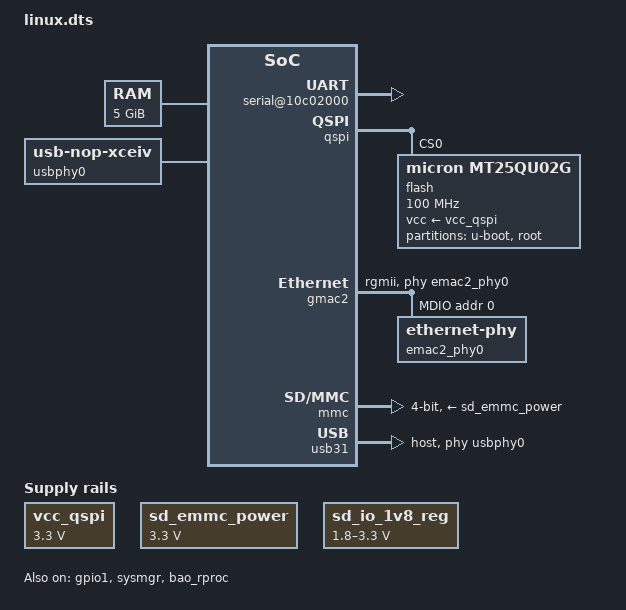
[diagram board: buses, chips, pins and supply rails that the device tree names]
/dts-v1/;

/ {
        #address-cells = <0x2>;
        #size-cells = <0x2>;
        interrupt-parent = <&gic>;

        cpus {
                #address-cells = <0x1>;
                #size-cells = <0x0>;

                /* Linux SMP across both A76 cores.
                 * Bao's cpu_affinity = 0xc in
                 * configs/linux_freertos/config.c maps:
                 *   vCPU0 (reg = 0x0) -> pCPU2 (first  A76)
                 *   vCPU1 (reg = 0x1) -> pCPU3 (second A76)
                 *
                 * The DT `reg` value is the MPIDR.Aff0 that Bao presents
                 * to the guest for that vCPU; Bao numbers vCPUs linearly
                 * from 0 regardless of which physical core(s) back them.
                 *
                 * Both compatibles MUST be "arm,cortex-a76" so Linux
                 * picks the A76 errata workarounds and feature paths
                 * (cache topology, MIDR-keyed cpu_errata tables, …).
                 * Cortex-A76 MIDR part = 0xd0b (verify with
                 * `grep -c 'CPU part.*0xd0b' /proc/cpuinfo` = 2).
                 *
                 * enable-method = "psci" + the psci node below
                 * (method = "hvc") routes secondary CPU bring-up through
                 * Bao's PSCI handler, which then issues the underlying
                 * SMC to ATF on the chosen pCPU. */
                cpu@0 {
                        compatible = "arm,cortex-a76";
                        device_type = "cpu";
                        enable-method = "psci";
                        reg = <0x0>;
                };

                cpu@1 {
                        compatible = "arm,cortex-a76";
                        device_type = "cpu";
                        enable-method = "psci";
                        reg = <0x1>;
                };
        };

        psci {
                compatible = "arm,psci-0.2";
                method = "hvc";
        };

        memory@0 {
                device_type = "memory";
                /* 5 GiB guest IPA (cache-colored by Bao, IPA != PA; see
                 * config.c): 1 GiB @ 0x82000000 + 4 GiB @ 0x880000000.
                 * Bao load PA 0xE0000000; shmem IPC IPA 0xC4000000. */
                reg = <0x0 0x82000000 0x0 0x40000000>,
                      <0x8 0x80000000 0x1 0x00000000>;
        };

        gic: interrupt-controller@1d000000 {
                compatible = "arm,gic-v3";
                #interrupt-cells = <0x3>;
                #address-cells = <0x2>;
                #size-cells = <0x2>;
                interrupt-controller;
                reg = <0x0 0x1d000000 0x0 0x10000>,
                      <0x0 0x1d060000 0x0 0x40000>;
                interrupts = <0x1 0x9 0xf04>;
        };

        timer {
                compatible = "arm,armv8-timer";
                always-on;
                interrupts = <0x1 0xd 0xf08>,
                             <0x1 0xe 0xf08>,
                             <0x1 0xb 0xf08>,
                             <0x1 0xa 0xf08>;
        };

        uartclk: uartclk {
                compatible = "fixed-clock";
                #clock-cells = <0x0>;
                clock-frequency = <100000000>;
        };

        serial@10c02000 {
                compatible = "snps,dw-apb-uart";
                reg = <0x0 0x10c02000 0x0 0x100>;
                reg-shift = <2>;
                reg-io-width = <4>;
                clock-frequency = <100000000>;
                interrupts = <0x0 0x6c 0x4>;
                status = "okay";
        };

        vcc_qspi: vcc-qspi-regulator {
                compatible = "regulator-fixed";
                regulator-name = "vcc-qspi";
                regulator-min-microvolt = <3300000>;
                regulator-max-microvolt = <3300000>;
                regulator-always-on;
        };

        qspi_clk: qspi-clk {
                #clock-cells = <0>;
                compatible = "fixed-clock";
                clock-frequency = <0x17d78400>;
        };

        qspi: spi@108d2000 {
                compatible = "intel,socfpga-qspi", "cdns,qspi-nor";
                reg = <0x0 0x108d2000 0x0 0x100>,
                      <0x0 0x10900000 0x0 0x100000>;
                #address-cells = <1>;
                #size-cells = <0>;
                interrupts = <0x0 0x3 0x4>;
                cdns,fifo-depth = <128>;
                cdns,fifo-width = <4>;
                cdns,trigger-address = <0x00000000>;
                clocks = <&qspi_clk>;
                status = "okay";

                flash@0 {
                        compatible = "micron,mt25qu02g", "jedec,spi-nor";
                        reg = <0>;
                        spi-max-frequency = <100000000>;
                        m25p,fast-read;
                        cdns,read-delay = <2>;
                        cdns,tshsl-ns = <50>;
                        cdns,tsd2d-ns = <50>;
                        cdns,tchsh-ns = <4>;
                        cdns,tslch-ns = <4>;
                        vcc-supply = <&vcc_qspi>;

                        partitions {
                                compatible = "fixed-partitions";
                                #address-cells = <1>;
                                #size-cells = <1>;

                                qspi_boot: partition@0 {
                                        label = "u-boot";
                                        reg = <0x0 0x04200000>;
                                };

                                root: partition@4200000 {
                                        label = "root";
                                        reg = <0x04200000 0x0be00000>;
                                };
                        };
                };
        };

        /* Clocks for Ethernet */
        emac0_clk: emac-clk {
                #clock-cells = <0x00>;
                compatible = "fixed-clock";
                clock-frequency = <400000000>;
        };

        emac_ptp_clk: emac-ptp-clk {
                #clock-cells = <0x00>;
                compatible = "fixed-clock";
                clock-frequency = <400000000>;
        };

        /* Clocks for SDMMC */
        mmc_biu_clk: mmc-biu-clk {
                #clock-cells = <0>;
                compatible = "fixed-clock";
                clock-frequency = <100000000>;
        };

        mmc_ciu_clk: mmc-ciu-clk {
                #clock-cells = <0>;
                compatible = "fixed-clock";
                clock-frequency = <200000000>;
        };

        /* Regulators for SDMMC */
        sd_emmc_power: regulator-sd-power {
                compatible = "regulator-fixed";
                regulator-name = "card-power";
                regulator-min-microvolt = <3300000>;
                regulator-max-microvolt = <3300000>;
                regulator-always-on;
        };

        sd_io_1v8_reg: regulator-sd-io {
                compatible = "regulator-gpio";
                regulator-name = "sd-bus-io-power";
                regulator-min-microvolt = <1800000>;
                regulator-max-microvolt = <3300000>;
                gpios = <&portb 3 0>;   /* GPIO_ACTIVE_HIGH = 0 */
                states = <1800000 0x1>, <3300000 0x0>;
        };

        gpio1: gpio@10c03300 {
                compatible = "snps,dw-apb-gpio";
                reg = <0x0 0x10c03300 0x0 0x100>;
                #address-cells = <1>;
                #size-cells = <0>;
                /* GPIO1_RESET = 89 in altr,rst-mgr-s10.h (Stratix10/Agilex5).
                 * The old value of 58 was taken from the base altr,rst-mgr.h
                 * which covers a different SoC family; it left GPIO1 permanently
                 * in hardware reset, so portb never came up and the regulator-gpio
                 * for vqmmc could not claim its GPIO pin. */
                resets = <&rst 89>;
                status = "okay";

                portb: gpio-controller@0 {
                        compatible = "snps,dw-apb-gpio-port";
                        reg = <0>;
                        gpio-controller;
                        #gpio-cells = <2>;
                        snps,nr-gpios = <24>;
                };
        };

        sysmgr: sysmgr@10d12000 {
                compatible = "altr,sys-mgr-s10", "altr,sys-mgr";
                reg = <0x0 0x10d12000 0x0 0x500>;
                status = "okay";
        };

        rst: rstmgr@10d11000 {
                compatible = "altr,stratix10-rst-mgr", "altr,rst-mgr";
                reg = <0x0 0x10d11000 0x0 0x1000>;
                #reset-cells = <1>;
        };

        gmac2: ethernet@10830000 {
                compatible = "altr,socfpga-stmmac-agilex5", "snps,dwxgmac-2.10";
                reg = <0x0 0x10830000 0x0 0x3500>;
                interrupts = <0x0 0xe0 0x4>,
                             <0x0 0xe1 0x4>,
                             <0x0 0xe2 0x4>,
                             <0x0 0xe3 0x4>,
                             <0x0 0xe4 0x4>,
                             <0x0 0xe5 0x4>,
                             <0x0 0xe6 0x4>,
                             <0x0 0xe7 0x4>,
                             <0x0 0xe8 0x4>,
                             <0x0 0xe9 0x4>,
                             <0x0 0xea 0x4>,
                             <0x0 0xeb 0x4>,
                             <0x0 0xec 0x4>,
                             <0x0 0xed 0x4>,
                             <0x0 0xee 0x4>,
                             <0x0 0xef 0x4>,
                             <0x0 0xf0 0x4>;
                interrupt-names = "macirq",
                                  "macirq_tx0",
                                  "macirq_tx1",
                                  "macirq_tx2",
                                  "macirq_tx3",
                                  "macirq_tx4",
                                  "macirq_tx5",
                                  "macirq_tx6",
                                  "macirq_tx7",
                                  "macirq_rx0",
                                  "macirq_rx1",
                                  "macirq_rx2",
                                  "macirq_rx3",
                                  "macirq_rx4",
                                  "macirq_rx5",
                                  "macirq_rx6",
                                  "macirq_rx7";
                resets = <&rst 34>, <&rst 42>;   /* EMAC2_RESET, EMAC2_OCP_RESET */
                reset-names = "stmmaceth", "ahb";
                clocks = <&emac0_clk>, <&emac_ptp_clk>;
                clock-names = "stmmaceth", "ptp_ref";
                mac-address = [00 00 00 00 00 00];
                tx-fifo-depth = <32768>;
                rx-fifo-depth = <16384>;
                snps,multicast-filter-bins = <64>;
                snps,perfect-filter-entries = <64>;
                snps,axi-config = <&stmmac_axi_emac2_setup>;
                snps,mtl-rx-config = <&mtl_rx_emac2_setup>;
                snps,mtl-tx-config = <&mtl_tx_emac2_setup>;
                snps,pbl = <32>;
                snps,pblx8;
                snps,multi-irq-en;
                snps,tso;
                snps,rx-vlan-offload;
                snps,pagepool-tx-buf-quirk;
                altr,sysmgr-syscon = <&sysmgr 0x4c 0>;
                altr,smtg-hub;
                snps,clk-csr = <0>;
                phy-mode = "rgmii";
                phy-handle = <&emac2_phy0>;
                max-frame-size = <9000>;
                status = "okay";

                stmmac_axi_emac2_setup: stmmac-axi-config {
                        snps,wr_osr_lmt = <31>;
                        snps,rd_osr_lmt = <31>;
                        snps,blen = <0 0 0 32 16 8 4>;
                };

                mtl_rx_emac2_setup: rx-queues-config {
                        snps,rx-queues-to-use = <8>;
                        snps,rx-sched-sp;
                        queue0 { snps,dcb-algorithm; snps,map-to-dma-channel = <0x0>; };
                        queue1 { snps,dcb-algorithm; snps,map-to-dma-channel = <0x1>; };
                        queue2 { snps,dcb-algorithm; snps,map-to-dma-channel = <0x2>; };
                        queue3 { snps,dcb-algorithm; snps,map-to-dma-channel = <0x3>; };
                        queue4 { snps,dcb-algorithm; snps,map-to-dma-channel = <0x4>; };
                        queue5 { snps,dcb-algorithm; snps,map-to-dma-channel = <0x5>; };
                        queue6 { snps,dcb-algorithm; snps,map-to-dma-channel = <0x6>; };
                        queue7 { snps,dcb-algorithm; snps,map-to-dma-channel = <0x7>; };
                };

                mtl_tx_emac2_setup: tx-queues-config {
                        snps,tx-queues-to-use = <8>;
                        snps,tx-queues-with-coe = <2>;
                        snps,tx-sched-wrr;
                        queue0 { snps,weight = <0x09>; snps,dcb-algorithm; };
                        queue1 { snps,weight = <0x0A>; snps,dcb-algorithm; };
                        queue2 { snps,weight = <0x0B>; snps,coe-unsupported; snps,dcb-algorithm; };
                        queue3 { snps,weight = <0x0C>; snps,coe-unsupported; snps,dcb-algorithm; };
                        queue4 { snps,weight = <0x0D>; snps,coe-unsupported; snps,dcb-algorithm; };
                        queue5 { snps,weight = <0x0E>; snps,coe-unsupported; snps,dcb-algorithm; };
                        queue6 { snps,weight = <0x0F>; snps,coe-unsupported; snps,dcb-algorithm; snps,tbs-enable; };
                        queue7 { snps,weight = <0x10>; snps,coe-unsupported; snps,dcb-algorithm; snps,tbs-enable; };
                };

                mdio0 {
                        #address-cells = <1>;
                        #size-cells = <0>;
                        compatible = "snps,dwmac-mdio";
                        emac2_phy0: ethernet-phy@0 {
                                reg = <0>;
                        };
                };
        };

        mmc: mmc0@10808000 {
                #address-cells = <1>;
                #size-cells = <0>;
                compatible = "altr,agilex5-sd6hc", "cdns,sd6hc";
                reg = <0x0 0x10808000 0x0 0x1000>;
                interrupts = <0x0 0x60 0x4>;   /* SPI 96 */
                fifo-depth = <0x800>;
                resets = <&rst 39>, <&rst 38>, <&rst 47>;
                reset-names = "sdhc-reset", "combophy", "sdmmc-ocp";
                clocks = <&mmc_biu_clk>, <&mmc_ciu_clk>;
                clock-names = "biu", "ciu";

                /* SMMU / coherency: the SoC's NCAIU2 port does not snoop the
                 * LLC, so dma-coherent is omitted; Linux uses dma_map_single()
                 * cache flushes instead. No iommus property and no smmu node:
                 * the guest must not touch the SMMU — Bao/ATF manage it. */

                /* SD6HC PHY parameters for sdhci-cadence6.c.
                 *
                 * Linux kernel ≥ 6.6 uses a new sdhci-cadence6.c driver
                 * (altr,agilex5-sd6hc match) that computes all PHY register
                 * values algorithmically from three board-level picosecond
                 * delays.  The U-Boot cdns,phy-dqs-timing-delay-* properties
                 * are for U-Boot's own mmc-sd6hc driver and are silently
                 * ignored by Linux — do NOT copy them here.
                 *
                 * Values below match the SoCDK board (same as sdhci-cadence6.c
                 * compile-time defaults, made explicit for documentation):
                 *   iocell-input-delay  : 2500 ps — PCB + IO cell input path
                 *   iocell-output-delay : 2500 ps — PCB + IO cell output path
                 *   delay-element       :   24 ps — PHY DLL tap size */
                cdns,iocell-input-delay = <2500>;
                cdns,iocell-output-delay = <2500>;
                cdns,delay-element = <24>;

                no-mmc;
                disable-wp;
                /* Disable 1.8 V UHS signalling entirely.  The Cadence SD6HC
                 * controller advertises re-tuning capability in its CAPS
                 * register.  When any UHS mode (SDR50/SDR104) is enabled the
                 * SDHCI core arms a periodic re-tuning timer and fires it on
                 * every significant I/O burst.  sdhci_cdns_execute_tuning()
                 * finds no valid window at the HS clock and returns -EIO,
                 * causing repeated "no tuning point found" log spam.  HS mode
                 * (50 MHz, 3.3 V) does not require tuning per the SD spec;
                 * setting no-1-8-v prevents the MMC core from ever attempting
                 * the 3.3 V→1.8 V voltage switch and disables the re-tuning
                 * timer, eliminating the noise with no functional regression. */
                no-1-8-v;
                cap-sd-highspeed;
                /* sd-uhs-sdr50/sdr104 intentionally omitted for initial bring-up:
                 * SDR104 requires a successful 3.3V→1.8V voltage switch via
                 * the regulator-gpio on portb.3.  Start with HS-only (50 MHz,
                 * 3.3 V, no voltage switching) to confirm the data path works
                 * end-to-end before exercising UHS modes.  To enable UHS:
                 *   1. Remove no-1-8-v above.
                 *   2. Add sd-uhs-sdr50 and verify voltage switch succeeds.
                 *   3. Then add sd-uhs-sdr104 and resolve the tuning window. */
                bus-width = <4>;
                vmmc-supply = <&sd_emmc_power>;
                vqmmc-supply = <&sd_io_1v8_reg>;
                max-frequency = <200000000>;
                sdhci-caps = <0x00000000 0x0000c800>;
                sdhci-caps-mask = <0x00002000 0x0000ff00>;
                status = "okay";
        };

        usbphy0: usbphy {
                #phy-cells = <0>;
                compatible = "usb-nop-xceiv";
        };

        /* USB3.1 controller (DWC3 wrapper).
         * intel,agilex5-dwc3 is handled by dwc3-of-simple.c:
         *   - resets are deasserted by the driver (optional — no-op if omitted)
         *   - clocks are optional (bulk_get_all returns 0 if absent)
         * U-Boot brings the controller up before Linux; the driver re-asserts
         * and deasserts the reset during probe to ensure a clean state.
         * iommus omitted: Bao does not expose the SMMU to the Linux guest.
         * Reset IDs from include/dt-bindings/reset/altr,rst-mgr-s10.h:
         *   USB1_RESET = 36, USB1_OCP_RESET = 44 */
        usb31: usb@11000000 {
                compatible = "intel,agilex5-dwc3", "snps,dwc3";
                reg = <0x0 0x11000000 0x0 0x100000>;
                ranges;
                #address-cells = <1>;
                #size-cells = <1>;
                interrupts = <0x0 0x5e 0x4>;   /* GIC SPI 94 → irqid 126 */
                resets = <&rst 36>, <&rst 44>;
                reset-names = "dwc3", "dwc3-ecc";
                phys = <&usbphy0>, <&usbphy0>;
                phy-names = "usb2-phy", "usb3-phy";
                maximum-speed = "super-speed";
                snps,dis_u2_susphy_quirk;
                snps,dis_u3_susphy_quirk;
                snps,dma_set_40_bit_mask_quirk;
                dr_mode = "host";
                status = "okay";
        };

        /*
         * Bao inter-VM remoteproc shim.
         *
         * Backed by the 64 KiB IPC shmem at IPA 0xC4000000 declared in
         * configs/linux_freertos/config.c:
         *   .ipcs[0] = { base=0xC4000000, size=0x10000, shmem_id=0,
         *                interrupts=[52] }
         *
         * Bao identity-maps this region into both VMs at the same IPA
         * (Stage-2 = Normal Cacheable WB Inner-Shareable).
         *
         * The "interrupts" property mirrors Bao's irqid 52, written
         * here in standard 3-cell GIC form:
         *   <SPI=0, intid=20 (= 52 - 32), edge-rising=1>
         *
         * The "bao,ipc-id" property is the index into the partition
         * config's .ipcs[] array (single-shmem layout -> 0).  The
         * driver passes it as x1 of the SMCCC vendor-hyp HVC fid
         * 0x86000001 so Bao injects the peer-side notification.
         */
        bao_rproc: bao-rproc@c4000000 {
                compatible  = "bao,rproc";
                reg         = <0x0 0xc4000000 0x0 0x10000>;
                /*
                 * GIC SPI 20 -> irqid 52, EDGE rising (=1).  Bao's IPC
                 * kick is logically edge-triggered: every peer
                 * libmetal_bao_kick() HVC produces one fresh
                 * vcpu_inject_irq() which momentarily asserts pending,
                 * Linux acks via EOI, and the next HVC re-asserts.
                 * Declaring it as level-high (=4) plus the matching
                 * IRQF_ONESHOT in the bao_rproc driver kept the IRQ
                 * masked at the GIC after the first delivery
                 * (NS_ANNOUNCE) -- subsequent kicks set the vGIC
                 * pending bit but never refilled an LR, so cat
                 * /dev/rpmsg0 saw zero bytes despite vring0.used.idx
                 * climbing to 17 in shmem.  Edge-rising matches the
                 * actual semantics and lets every kick fan out cleanly.
                 */
                interrupts  = <0x0 0x14 0x1>;
                bao,ipc-id  = <0x0>;
                status      = "okay";
        };

        chosen {
                /* rootfs on mmcblk0p2 (partition 2 of the SD card). rootwait is
                 * required: SDHCI enumeration is async and the card is not
                 * detected until a few hundred ms after the controller probes. */
                bootargs = "console=ttyS0,115200 root=/dev/mmcblk0p2 rw rootwait vm_id=1 iomem=relaxed loglevel=8";
                stdout-path = "/serial@10c02000";
        };
};
